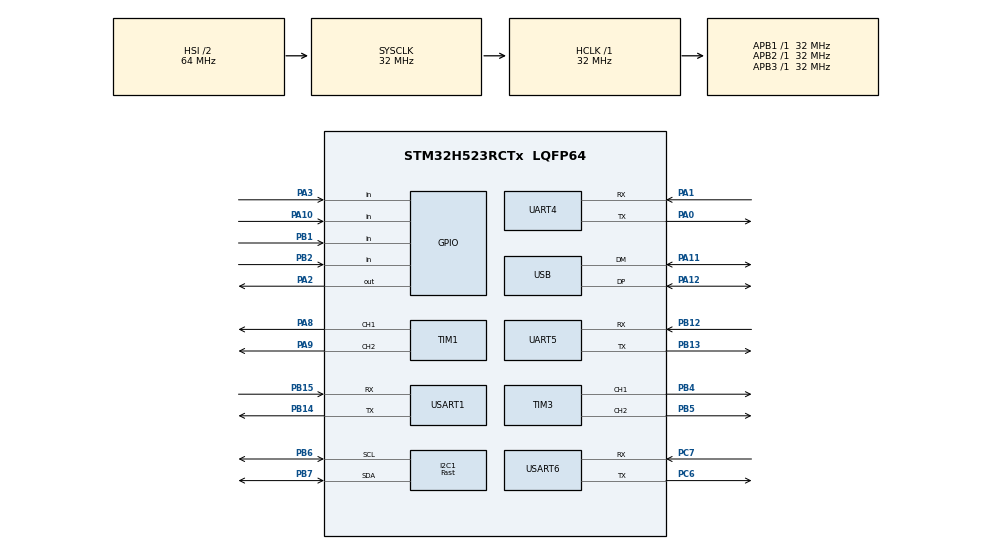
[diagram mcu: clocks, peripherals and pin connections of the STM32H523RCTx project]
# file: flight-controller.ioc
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BOOTPATH.BootPathName=LEGACY
BOOTPATH.UserSelectedBootPath=LEGACY
CORTEX_M33_NS.Number-Cortex_Memory_Protection_Unit_Region0_OTP_RO_AREAS_Settings=MPU_REGION_NUMBER0
CORTEX_M33_NS.default_mode_Activation=1
CORTEX_M33_NS.userName=CORTEX_M33
I2C1.I2C_Speed_Mode=I2C_Fast
I2C1.Timing=0x00300F38
Mcu.Family=STM32H5
Mcu.Name=STM32H523RCTx
Mcu.Package=LQFP64
NVIC.PriorityGroup=NVIC_PRIORITYGROUP_4
PA0.Mode=Asynchronous
PA0.Signal=UART4_TX
PA1.Mode=Asynchronous
PA1.Signal=UART4_RX
PA10.Signal=GPIO_Input
PA11.Mode=Device
PA11.Signal=USB_DM
PA12.Mode=Device
PA12.Signal=USB_DP
PA13(JTMS/SWDIO).Mode=Serial_Wire
PA13(JTMS/SWDIO).Signal=DEBUG_JTMS-SWDIO
PA14(JTCK/SWCLK).Mode=Serial_Wire
PA14(JTCK/SWCLK).Signal=DEBUG_JTCK-SWCLK
PA2.Signal=GPIO_Output
PA3.Signal=GPIO_Input
PA8.Signal=S_TIM1_CH1
PA9.Signal=S_TIM1_CH2
PB1.Signal=GPIO_Input
PB12.Mode=Asynchronous
PB12.Signal=UART5_RX
PB13.Mode=Asynchronous
PB13.Signal=UART5_TX
PB14.Mode=Asynchronous
PB14.Signal=USART1_TX
PB15.Mode=Asynchronous
PB15.Signal=USART1_RX
PB2.Signal=GPIO_Input
PB4(NJTRST).Signal=S_TIM3_CH1
PB5.Signal=S_TIM3_CH2
PB6.Mode=I2C
PB6.Signal=I2C1_SCL
PB7.Mode=I2C
PB7.Signal=I2C1_SDA
PC14-OSC32_IN(OSC32_IN).Mode=LSE-External-Oscillator
PC14-OSC32_IN(OSC32_IN).Signal=RCC_OSC32_IN
PC15-OSC32_OUT(OSC32_OUT).Mode=LSE-External-Oscillator
PC15-OSC32_OUT(OSC32_OUT).Signal=RCC_OSC32_OUT
PC6.Mode=Asynchronous
PC6.Signal=USART6_TX
PC7.Mode=Asynchronous
PC7.Signal=USART6_RX
PH0-OSC_IN(PH0).Mode=HSE-External-Oscillator
PH0-OSC_IN(PH0).Signal=RCC_OSC_IN
PH1-OSC_OUT(PH1).Mode=HSE-External-Oscillator
PH1-OSC_OUT(PH1).Signal=RCC_OSC_OUT
ProjectManager.HeapSize=0x200
ProjectManager.StackSize=0x400
ProjectManager.TargetToolchain=CMake
RCC.ADCFreq_Value=32000000
RCC.AHBFreq_Value=32000000
RCC.APB1Freq_Value=32000000
RCC.APB1TimFreq_Value=32000000
RCC.APB2Freq_Value=32000000
RCC.APB2TimFreq_Value=32000000
RCC.APB3Freq_Value=32000000
RCC.CSI_VALUE=4000000
RCC.CortexFreq_Value=32000000
RCC.EPOD_VALUE=4000000
RCC.HCLKFreq_Value=32000000
RCC.HSE_VALUE=25000000
RCC.HSI48_VALUE=48000000
RCC.HSI_VALUE=64000000
RCC.LSIRC_VALUE=32000
RCC.PLL1Q=3
RCC.PLL1_VCO_SEL=RCC_PLL1VCOWIDE
RCC.PLL2_VCO_SEL=RCC_PLL2VCOWIDE
RCC.PLL3_VCO_SEL=RCC_PLL3VCOWIDE
RCC.PLLFRACN=0
RCC.PLLN=32
RCC.SYSCLKFreq_VALUE=32000000
RCC.USBFreq_Value=48000000
RCC.VCOOutputFreq_Value=128000000
SH.S_TIM1_CH1.0=TIM1_CH1,PWM Generation1 CH1
SH.S_TIM1_CH2.0=TIM1_CH2,PWM Generation2 CH2
SH.S_TIM3_CH1.0=TIM3_CH1,PWM Generation1 CH1
SH.S_TIM3_CH2.0=TIM3_CH2,PWM Generation2 CH2
TIM1.Channel-PWM\ Generation1\ CH1=TIM_CHANNEL_1
TIM1.Channel-PWM\ Generation2\ CH2=TIM_CHANNEL_2
TIM3.Channel-PWM\ Generation1\ CH1=TIM_CHANNEL_1
TIM3.Channel-PWM\ Generation2\ CH2=TIM_CHANNEL_2
USART1.VirtualMode-Asynchronous=VM_ASYNC
USART6.VirtualMode=VM_ASYNC
USB.VirtualMode=Device_Only
VP_BOOTPATH_VS_BOOTPATH.Mode=BP_Activate
VP_CORTEX_M33_NS_VS_Hclk.Mode=Hclk_Mode
VP_ICACHE_VS_ICACHE.Mode=DefaultMode
VP_MEMORYMAP_VS_MEMORYMAP.Mode=CurAppReg
VP_PWR_VS_LPOM.Mode=PowerOptimisation
VP_PWR_VS_SECSignals.Mode=Security/Privilege
VP_TIM1_VS_ClockSourceINT.Mode=Internal
VP_TIM3_VS_ClockSourceINT.Mode=Internal
board=custom

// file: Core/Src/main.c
/* USER CODE BEGIN Header */
/**
 ******************************************************************************
 * @file           : main.c
 * @brief          : Main program body
 ******************************************************************************
 * @attention
 *
 * Copyright (c) 2026 STMicroelectronics.
 * All rights reserved.
 *
 * This software is licensed under terms that can be found in the LICENSE file
 * in the root directory of this software component.
 * If no LICENSE file comes with this software, it is provided AS-IS.
 *
 ******************************************************************************
 */
/* USER CODE END Header */
#include "main.h"

/* USER CODE BEGIN Includes */

#include <stdlib.h>
#include <math.h>

/* USER CODE END Includes */

I2C_HandleTypeDef hi2c1;

TIM_HandleTypeDef htim1;
TIM_HandleTypeDef htim3;

UART_HandleTypeDef huart4;
UART_HandleTypeDef huart5;
UART_HandleTypeDef huart1;
UART_HandleTypeDef huart6;

PCD_HandleTypeDef hpcd_USB_DRD_FS;

/* USER CODE BEGIN PV */

const float DT = 0.1;

float *gyro;
float *accel;
float *mag;

float orientation[3];
float gain = 0.02;

/* USER CODE END PV */

void SystemClock_Config(void);
static void MPU_Config(void);
static void MX_GPIO_Init(void);
static void MX_I2C1_Init(void);
static void MX_USB_PCD_Init(void);
static void MX_USART1_UART_Init(void);
static void MX_TIM1_Init(void);
static void MX_TIM3_Init(void);
static void MX_UART4_Init(void);
static void MX_UART5_Init(void);
static void MX_USART6_UART_Init(void);
static void MX_ICACHE_Init(void);
/* USER CODE BEGIN PFP */

static float* get_gyro();
static float* get_accel();
static float* get_mag();

/* USER CODE END PFP */

int main(void)
{

	/* USER CODE BEGIN 1 */

	gyro = malloc(sizeof(float) * 3);
	accel = malloc(sizeof(float) * 3);
	mag = malloc(sizeof(float) * 3);

	/* USER CODE END 1 */

	/* MCU Configuration--------------------------------------------------------*/

	/* MPU Configuration--------------------------------------------------------*/
	MPU_Config();

	/* Reset of all peripherals, Initializes the Flash interface and the Systick. */
	HAL_Init();

	/* Configure the system clock */
	SystemClock_Config();

	/* Initialize all configured peripherals */
	MX_GPIO_Init();
	MX_I2C1_Init();
	MX_USB_PCD_Init();
	MX_USART1_UART_Init();
	MX_TIM1_Init();
	MX_TIM3_Init();
	MX_UART4_Init();
	MX_UART5_Init();
	MX_USART6_UART_Init();
	MX_ICACHE_Init();

	/* Infinite loop */
	while (1)
	{

		/* USER CODE BEGIN 3 */

		gyro = get_gyro();
		accel = get_accel();
		mag = get_mag();

		float gyro_orientation[3];
		for (int i = 0; i < 3; i++) {
			gyro_orientation[i] += gyro[i] * DT;
		}

		float accel_orientation[3];
		float R =  sqrt(pow(accel[0],2)+pow(accel[1],2)+pow(accel[2],2));
		accel_orientation[0] = acos(accel[0]/R)*180/M_PI;
		accel_orientation[1] = acos(accel[1]/R)*180/M_PI;
		accel_orientation[2] = acos(accel[2]/R)*180/M_PI;

		for (int i = 0; i < 3; i++) {
			orientation[i] = gain * gyro_orientation[i] + (1 - gain) * accel_orientation[i];
		}
	}
	/* USER CODE END 3 */
}

void SystemClock_Config(void)
{
	RCC_OscInitTypeDef RCC_OscInitStruct = {0};
	RCC_ClkInitTypeDef RCC_ClkInitStruct = {0};

	/** Configure the main internal regulator output voltage
	 */
	__HAL_PWR_VOLTAGESCALING_CONFIG(PWR_REGULATOR_VOLTAGE_SCALE3);

	while(!__HAL_PWR_GET_FLAG(PWR_FLAG_VOSRDY)) {}

	/** Initializes the RCC Oscillators according to the specified parameters
	 * in the RCC_OscInitTypeDef structure.
	 */
	RCC_OscInitStruct.OscillatorType = RCC_OSCILLATORTYPE_HSI48|RCC_OSCILLATORTYPE_HSI;
	RCC_OscInitStruct.HSIState = RCC_HSI_ON;
	RCC_OscInitStruct.HSIDiv = RCC_HSI_DIV2;
	RCC_OscInitStruct.HSICalibrationValue = RCC_HSICALIBRATION_DEFAULT;
	RCC_OscInitStruct.HSI48State = RCC_HSI48_ON;
	RCC_OscInitStruct.PLL.PLLState = RCC_PLL_NONE;
	if (HAL_RCC_OscConfig(&RCC_OscInitStruct) != HAL_OK)
	{
		Error_Handler();
	}

	/** Initializes the CPU, AHB and APB buses clocks
	 */
	RCC_ClkInitStruct.ClockType = RCC_CLOCKTYPE_HCLK|RCC_CLOCKTYPE_SYSCLK
	                              |RCC_CLOCKTYPE_PCLK1|RCC_CLOCKTYPE_PCLK2
	                              |RCC_CLOCKTYPE_PCLK3;
	RCC_ClkInitStruct.SYSCLKSource = RCC_SYSCLKSOURCE_HSI;
	RCC_ClkInitStruct.AHBCLKDivider = RCC_SYSCLK_DIV1;
	RCC_ClkInitStruct.APB1CLKDivider = RCC_HCLK_DIV1;
	RCC_ClkInitStruct.APB2CLKDivider = RCC_HCLK_DIV1;
	RCC_ClkInitStruct.APB3CLKDivider = RCC_HCLK_DIV1;

	if (HAL_RCC_ClockConfig(&RCC_ClkInitStruct, FLASH_LATENCY_1) != HAL_OK)
	{
		Error_Handler();
	}

	/** Configure the programming delay
	 */
	__HAL_FLASH_SET_PROGRAM_DELAY(FLASH_PROGRAMMING_DELAY_0);
}

static void MX_I2C1_Init(void)
{

	hi2c1.Instance = I2C1;
	hi2c1.Init.Timing = 0x00300F38;
	hi2c1.Init.OwnAddress1 = 0;
	hi2c1.Init.AddressingMode = I2C_ADDRESSINGMODE_7BIT;
	hi2c1.Init.DualAddressMode = I2C_DUALADDRESS_DISABLE;
	hi2c1.Init.OwnAddress2 = 0;
	hi2c1.Init.OwnAddress2Masks = I2C_OA2_NOMASK;
	hi2c1.Init.GeneralCallMode = I2C_GENERALCALL_DISABLE;
	hi2c1.Init.NoStretchMode = I2C_NOSTRETCH_DISABLE;
	if (HAL_I2C_Init(&hi2c1) != HAL_OK)
	{
		Error_Handler();
	}

	/** Configure Analogue filter
	 */
	if (HAL_I2CEx_ConfigAnalogFilter(&hi2c1, I2C_ANALOGFILTER_ENABLE) != HAL_OK)
	{
		Error_Handler();
	}

	/** Configure Digital filter
	 */
	if (HAL_I2CEx_ConfigDigitalFilter(&hi2c1, 0) != HAL_OK)
	{
		Error_Handler();
	}

}

static void MX_ICACHE_Init(void)
{

	/** Enable instruction cache (default 2-ways set associative cache)
	 */
	if (HAL_ICACHE_Enable() != HAL_OK)
	{
		Error_Handler();
	}

}

static void MX_TIM1_Init(void)
{

	TIM_ClockConfigTypeDef sClockSourceConfig = {0};
	TIM_MasterConfigTypeDef sMasterConfig = {0};
	TIM_OC_InitTypeDef sConfigOC = {0};
	TIM_BreakDeadTimeConfigTypeDef sBreakDeadTimeConfig = {0};

	htim1.Instance = TIM1;
	htim1.Init.Prescaler = 0;
	htim1.Init.CounterMode = TIM_COUNTERMODE_UP;
	htim1.Init.Period = 65535;
	htim1.Init.ClockDivision = TIM_CLOCKDIVISION_DIV1;
	htim1.Init.RepetitionCounter = 0;
	htim1.Init.AutoReloadPreload = TIM_AUTORELOAD_PRELOAD_DISABLE;
	if (HAL_TIM_Base_Init(&htim1) != HAL_OK)
	{
		Error_Handler();
	}
	sClockSourceConfig.ClockSource = TIM_CLOCKSOURCE_INTERNAL;
	if (HAL_TIM_ConfigClockSource(&htim1, &sClockSourceConfig) != HAL_OK)
	{
		Error_Handler();
	}
	if (HAL_TIM_PWM_Init(&htim1) != HAL_OK)
	{
		Error_Handler();
	}
	sMasterConfig.MasterOutputTrigger = TIM_TRGO_RESET;
	sMasterConfig.MasterOutputTrigger2 = TIM_TRGO2_RESET;
	sMasterConfig.MasterSlaveMode = TIM_MASTERSLAVEMODE_DISABLE;
	if (HAL_TIMEx_MasterConfigSynchronization(&htim1, &sMasterConfig) != HAL_OK)
	{
		Error_Handler();
	}
	sConfigOC.OCMode = TIM_OCMODE_PWM1;
	sConfigOC.Pulse = 0;
	sConfigOC.OCPolarity = TIM_OCPOLARITY_HIGH;
	sConfigOC.OCNPolarity = TIM_OCNPOLARITY_HIGH;
	sConfigOC.OCFastMode = TIM_OCFAST_DISABLE;
	sConfigOC.OCIdleState = TIM_OCIDLESTATE_RESET;
	sConfigOC.OCNIdleState = TIM_OCNIDLESTATE_RESET;
	if (HAL_TIM_PWM_ConfigChannel(&htim1, &sConfigOC, TIM_CHANNEL_1) != HAL_OK)
	{
		Error_Handler();
	}
	if (HAL_TIM_PWM_ConfigChannel(&htim1, &sConfigOC, TIM_CHANNEL_2) != HAL_OK)
	{
		Error_Handler();
	}
	sBreakDeadTimeConfig.OffStateRunMode = TIM_OSSR_DISABLE;
	sBreakDeadTimeConfig.OffStateIDLEMode = TIM_OSSI_DISABLE;
	sBreakDeadTimeConfig.LockLevel = TIM_LOCKLEVEL_OFF;
	sBreakDeadTimeConfig.DeadTime = 0;
	sBreakDeadTimeConfig.BreakState = TIM_BREAK_DISABLE;
	sBreakDeadTimeConfig.BreakPolarity = TIM_BREAKPOLARITY_HIGH;
	sBreakDeadTimeConfig.BreakFilter = 0;
	sBreakDeadTimeConfig.BreakAFMode = TIM_BREAK_AFMODE_INPUT;
	sBreakDeadTimeConfig.Break2State = TIM_BREAK2_DISABLE;
	sBreakDeadTimeConfig.Break2Polarity = TIM_BREAK2POLARITY_HIGH;
	sBreakDeadTimeConfig.Break2Filter = 0;
	sBreakDeadTimeConfig.Break2AFMode = TIM_BREAK_AFMODE_INPUT;
	sBreakDeadTimeConfig.AutomaticOutput = TIM_AUTOMATICOUTPUT_DISABLE;
	if (HAL_TIMEx_ConfigBreakDeadTime(&htim1, &sBreakDeadTimeConfig) != HAL_OK)
	{
		Error_Handler();
	}
	HAL_TIM_MspPostInit(&htim1);

}

static void MX_TIM3_Init(void)
{

	TIM_ClockConfigTypeDef sClockSourceConfig = {0};
	TIM_MasterConfigTypeDef sMasterConfig = {0};
	TIM_OC_InitTypeDef sConfigOC = {0};

	htim3.Instance = TIM3;
	htim3.Init.Prescaler = 0;
	htim3.Init.CounterMode = TIM_COUNTERMODE_UP;
	htim3.Init.Period = 65535;
	htim3.Init.ClockDivision = TIM_CLOCKDIVISION_DIV1;
	htim3.Init.AutoReloadPreload = TIM_AUTORELOAD_PRELOAD_DISABLE;
	if (HAL_TIM_Base_Init(&htim3) != HAL_OK)
	{
		Error_Handler();
	}
	sClockSourceConfig.ClockSource = TIM_CLOCKSOURCE_INTERNAL;
	if (HAL_TIM_ConfigClockSource(&htim3, &sClockSourceConfig) != HAL_OK)
	{
		Error_Handler();
	}
	if (HAL_TIM_PWM_Init(&htim3) != HAL_OK)
	{
		Error_Handler();
	}
	sMasterConfig.MasterOutputTrigger = TIM_TRGO_RESET;
	sMasterConfig.MasterSlaveMode = TIM_MASTERSLAVEMODE_DISABLE;
	if (HAL_TIMEx_MasterConfigSynchronization(&htim3, &sMasterConfig) != HAL_OK)
	{
		Error_Handler();
	}
	sConfigOC.OCMode = TIM_OCMODE_PWM1;
	sConfigOC.Pulse = 0;
	sConfigOC.OCPolarity = TIM_OCPOLARITY_HIGH;
	sConfigOC.OCFastMode = TIM_OCFAST_DISABLE;
	if (HAL_TIM_PWM_ConfigChannel(&htim3, &sConfigOC, TIM_CHANNEL_1) != HAL_OK)
	{
		Error_Handler();
	}
	if (HAL_TIM_PWM_ConfigChannel(&htim3, &sConfigOC, TIM_CHANNEL_2) != HAL_OK)
	{
		Error_Handler();
	}
	HAL_TIM_MspPostInit(&htim3);

}

static void MX_UART4_Init(void)
{

	huart4.Instance = UART4;
	huart4.Init.BaudRate = 115200;
	huart4.Init.WordLength = UART_WORDLENGTH_8B;
	huart4.Init.StopBits = UART_STOPBITS_1;
	huart4.Init.Parity = UART_PARITY_NONE;
	huart4.Init.Mode = UART_MODE_TX_RX;
	huart4.Init.HwFlowCtl = UART_HWCONTROL_NONE;
	huart4.Init.OverSampling = UART_OVERSAMPLING_16;
	huart4.Init.OneBitSampling = UART_ONE_BIT_SAMPLE_DISABLE;
	huart4.Init.ClockPrescaler = UART_PRESCALER_DIV1;
	huart4.AdvancedInit.AdvFeatureInit = UART_ADVFEATURE_NO_INIT;
	if (HAL_UART_Init(&huart4) != HAL_OK)
	{
		Error_Handler();
	}
	if (HAL_UARTEx_SetTxFifoThreshold(&huart4, UART_TXFIFO_THRESHOLD_1_8) != HAL_OK)
	{
		Error_Handler();
	}
	if (HAL_UARTEx_SetRxFifoThreshold(&huart4, UART_RXFIFO_THRESHOLD_1_8) != HAL_OK)
	{
		Error_Handler();
	}
	if (HAL_UARTEx_DisableFifoMode(&huart4) != HAL_OK)
	{
		Error_Handler();
	}

}

static void MX_UART5_Init(void)
{

	huart5.Instance = UART5;
	huart5.Init.BaudRate = 115200;
	huart5.Init.WordLength = UART_WORDLENGTH_8B;
	huart5.Init.StopBits = UART_STOPBITS_1;
	huart5.Init.Parity = UART_PARITY_NONE;
	huart5.Init.Mode = UART_MODE_TX_RX;
	huart5.Init.HwFlowCtl = UART_HWCONTROL_NONE;
	huart5.Init.OverSampling = UART_OVERSAMPLING_16;
	huart5.Init.OneBitSampling = UART_ONE_BIT_SAMPLE_DISABLE;
	huart5.Init.ClockPrescaler = UART_PRESCALER_DIV1;
	huart5.AdvancedInit.AdvFeatureInit = UART_ADVFEATURE_NO_INIT;
	if (HAL_UART_Init(&huart5) != HAL_OK)
	{
		Error_Handler();
	}
	if (HAL_UARTEx_SetTxFifoThreshold(&huart5, UART_TXFIFO_THRESHOLD_1_8) != HAL_OK)
	{
		Error_Handler();
	}
	if (HAL_UARTEx_SetRxFifoThreshold(&huart5, UART_RXFIFO_THRESHOLD_1_8) != HAL_OK)
	{
		Error_Handler();
	}
	if (HAL_UARTEx_DisableFifoMode(&huart5) != HAL_OK)
	{
		Error_Handler();
	}

}

static void MX_USART1_UART_Init(void)
{

	huart1.Instance = USART1;
	huart1.Init.BaudRate = 115200;
	huart1.Init.WordLength = UART_WORDLENGTH_8B;
	huart1.Init.StopBits = UART_STOPBITS_1;
	huart1.Init.Parity = UART_PARITY_NONE;
	huart1.Init.Mode = UART_MODE_TX_RX;
	huart1.Init.HwFlowCtl = UART_HWCONTROL_NONE;
	huart1.Init.OverSampling = UART_OVERSAMPLING_16;
	huart1.Init.OneBitSampling = UART_ONE_BIT_SAMPLE_DISABLE;
	huart1.Init.ClockPrescaler = UART_PRESCALER_DIV1;
	huart1.AdvancedInit.AdvFeatureInit = UART_ADVFEATURE_NO_INIT;
	if (HAL_UART_Init(&huart1) != HAL_OK)
	{
		Error_Handler();
	}
	if (HAL_UARTEx_SetTxFifoThreshold(&huart1, UART_TXFIFO_THRESHOLD_1_8) != HAL_OK)
	{
		Error_Handler();
	}
	if (HAL_UARTEx_SetRxFifoThreshold(&huart1, UART_RXFIFO_THRESHOLD_1_8) != HAL_OK)
	{
		Error_Handler();
	}
	if (HAL_UARTEx_DisableFifoMode(&huart1) != HAL_OK)
	{
		Error_Handler();
	}

}

static void MX_USART6_UART_Init(void)
{

	huart6.Instance = USART6;
	huart6.Init.BaudRate = 115200;
	huart6.Init.WordLength = UART_WORDLENGTH_8B;
	huart6.Init.StopBits = UART_STOPBITS_1;
	huart6.Init.Parity = UART_PARITY_NONE;
	huart6.Init.Mode = UART_MODE_TX_RX;
	huart6.Init.HwFlowCtl = UART_HWCONTROL_NONE;
	huart6.Init.OverSampling = UART_OVERSAMPLING_16;
	huart6.Init.OneBitSampling = UART_ONE_BIT_SAMPLE_DISABLE;
	huart6.Init.ClockPrescaler = UART_PRESCALER_DIV1;
	huart6.AdvancedInit.AdvFeatureInit = UART_ADVFEATURE_NO_INIT;
	if (HAL_UART_Init(&huart6) != HAL_OK)
	{
		Error_Handler();
	}
	if (HAL_UARTEx_SetTxFifoThreshold(&huart6, UART_TXFIFO_THRESHOLD_1_8) != HAL_OK)
	{
		Error_Handler();
	}
	if (HAL_UARTEx_SetRxFifoThreshold(&huart6, UART_RXFIFO_THRESHOLD_1_8) != HAL_OK)
	{
		Error_Handler();
	}
	if (HAL_UARTEx_DisableFifoMode(&huart6) != HAL_OK)
	{
		Error_Handler();
	}

}

static void MX_USB_PCD_Init(void)
{

	hpcd_USB_DRD_FS.Instance = USB_DRD_FS;
	hpcd_USB_DRD_FS.Init.dev_endpoints = 8;
	hpcd_USB_DRD_FS.Init.speed = USBD_FS_SPEED;
	hpcd_USB_DRD_FS.Init.phy_itface = PCD_PHY_EMBEDDED;
	hpcd_USB_DRD_FS.Init.Sof_enable = DISABLE;
	hpcd_USB_DRD_FS.Init.low_power_enable = DISABLE;
	hpcd_USB_DRD_FS.Init.lpm_enable = DISABLE;
	hpcd_USB_DRD_FS.Init.battery_charging_enable = DISABLE;
	hpcd_USB_DRD_FS.Init.vbus_sensing_enable = DISABLE;
	hpcd_USB_DRD_FS.Init.bulk_doublebuffer_enable = DISABLE;
	hpcd_USB_DRD_FS.Init.iso_singlebuffer_enable = DISABLE;
	if (HAL_PCD_Init(&hpcd_USB_DRD_FS) != HAL_OK)
	{
		Error_Handler();
	}

}

static void MX_GPIO_Init(void)
{
	GPIO_InitTypeDef GPIO_InitStruct = {0};

	/* GPIO Ports Clock Enable */
	__HAL_RCC_GPIOC_CLK_ENABLE();
	__HAL_RCC_GPIOH_CLK_ENABLE();
	__HAL_RCC_GPIOA_CLK_ENABLE();
	__HAL_RCC_GPIOB_CLK_ENABLE();

	/*Configure GPIO pin Output Level */
	HAL_GPIO_WritePin(GPIOA, GPIO_PIN_2, GPIO_PIN_RESET);

	/*Configure GPIO pin : PA2 */
	GPIO_InitStruct.Pin = GPIO_PIN_2;
	GPIO_InitStruct.Mode = GPIO_MODE_OUTPUT_PP;
	GPIO_InitStruct.Pull = GPIO_NOPULL;
	GPIO_InitStruct.Speed = GPIO_SPEED_FREQ_LOW;
	HAL_GPIO_Init(GPIOA, &GPIO_InitStruct);

	/*Configure GPIO pins : PA3 PA10 */
	GPIO_InitStruct.Pin = GPIO_PIN_3|GPIO_PIN_10;
	GPIO_InitStruct.Mode = GPIO_MODE_INPUT;
	GPIO_InitStruct.Pull = GPIO_NOPULL;
	HAL_GPIO_Init(GPIOA, &GPIO_InitStruct);

	/*Configure GPIO pins : PB1 PB2 */
	GPIO_InitStruct.Pin = GPIO_PIN_1|GPIO_PIN_2;
	GPIO_InitStruct.Mode = GPIO_MODE_INPUT;
	GPIO_InitStruct.Pull = GPIO_NOPULL;
	HAL_GPIO_Init(GPIOB, &GPIO_InitStruct);

}

/* USER CODE BEGIN 4 */

static float* get_gyro() {
	return malloc(sizeof(float) * 3);
}

static float* get_accel() {
	return malloc(sizeof(float) * 3);
}

static float* get_mag() {
	return malloc(sizeof(float) * 3);
}

/* USER CODE END 4 */

/* MPU Configuration */

void MPU_Config(void)
{
	MPU_Region_InitTypeDef MPU_InitStruct = {0};
	MPU_Attributes_InitTypeDef MPU_AttributesInit = {0};

	/* Disables the MPU */
	HAL_MPU_Disable();

	/** Initializes and configures the Region 0 and the memory to be protected
	 */
	MPU_InitStruct.Enable = MPU_REGION_ENABLE;
	MPU_InitStruct.Number = MPU_REGION_NUMBER0;
	MPU_InitStruct.BaseAddress = 0x08FFF000;
	MPU_InitStruct.LimitAddress = 0x08FFFFFF;
	MPU_InitStruct.AttributesIndex = MPU_ATTRIBUTES_NUMBER0;
	MPU_InitStruct.AccessPermission = MPU_REGION_ALL_RO;
	MPU_InitStruct.DisableExec = MPU_INSTRUCTION_ACCESS_DISABLE;
	MPU_InitStruct.IsShareable = MPU_ACCESS_NOT_SHAREABLE;

	HAL_MPU_ConfigRegion(&MPU_InitStruct);

	/** Initializes and configures the Attribute 0 and the memory to be protected
	 */
	MPU_AttributesInit.Number = MPU_ATTRIBUTES_NUMBER0;
	MPU_AttributesInit.Attributes = INNER_OUTER(MPU_NOT_CACHEABLE);

	HAL_MPU_ConfigMemoryAttributes(&MPU_AttributesInit);
	/* Enables the MPU */
	HAL_MPU_Enable(MPU_PRIVILEGED_DEFAULT);

}

void Error_Handler(void)
{
	__disable_irq();
	while (1)
	{
	}
}
